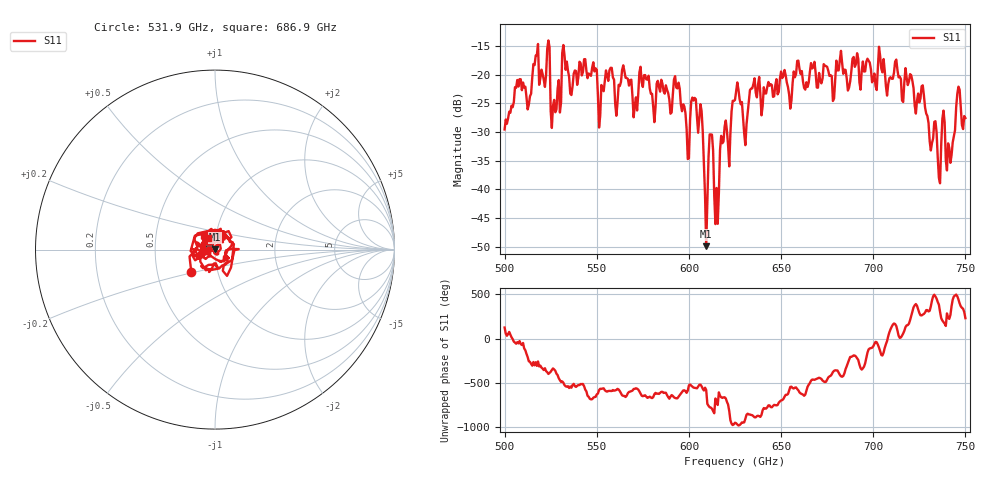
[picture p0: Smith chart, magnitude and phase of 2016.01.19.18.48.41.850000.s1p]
!Created with skrf (http://scikit-rf.org).
# GHz S RI R 50.0
!freq ReS11 ImS11
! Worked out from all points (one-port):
!   401 points, 500 GHz to 750 GHz, reference 50 ohm
!   lowest |S11| = -49.9 dB at 609.4 GHz (marker M1), VSWR 1.01, Z = 49.8 + j0.202 ohm
!   |S11| at or under -10 dB: start of sweep to end of sweep
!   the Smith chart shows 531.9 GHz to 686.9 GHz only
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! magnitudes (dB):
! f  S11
! 500 GHz  -29.6
! 507.5 GHz  -22.1
! 513.1 GHz  -25.3
! 516.9 GHz  -16.7
! 523.1 GHz  -15.5
! 526.2 GHz  -25.5
! 531.2 GHz  -16.2
! 562.5 GHz  -22.0
! 593.8 GHz  -22.4
! 599.4 GHz  -34.7
! 602.5 GHz  -24.5
! 606.2 GHz  -25.2
! 609.4 GHz  -49.9
! 611.9 GHz  -30.4
! 615 GHz  -39.8
! 618.1 GHz  -32.0
! 621.9 GHz  -36.0
! 625 GHz  -24.4
! 630.6 GHz  -32.3
! 634.4 GHz  -22.4
! 656.2 GHz  -21.5
! 687.5 GHz  -21.2
! 718.8 GHz  -21.8
! 735.6 GHz  -38.0
! 738.1 GHz  -26.3
! 743.1 GHz  -31.8
! 746.2 GHz  -22.1
! 750 GHz  -27.6
